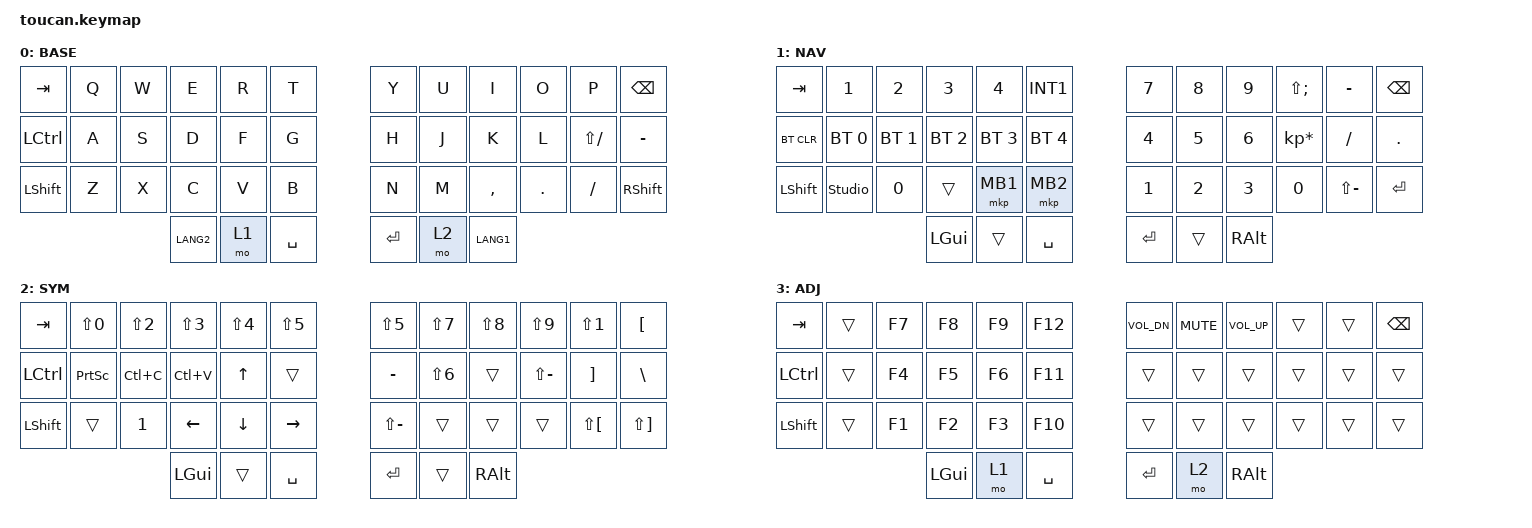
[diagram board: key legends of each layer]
#include <behaviors.dtsi>
#include <dt-bindings/zmk/keys.h>
#include <dt-bindings/zmk/bt.h>
#include <dt-bindings/zmk/mouse.h>

/ {
    conditional_layers {
        compatible = "zmk,conditional-layers";
        adj_layer {
            if-layers = <1 2>;
            then-layer = <3>;
        };
    };

    keymap {
        compatible = "zmk,keymap";

        default_layer {
            display-name = "BASE";
            bindings = <
                &kp TAB               &kp Q                 &kp W                 &kp E                 &kp R                 &kp T                 &kp Y                 &kp U                 &kp I                 &kp O                 &kp P                 &kp BSPC              
                &kp LCTRL             &kp A                 &kp S                 &kp D                 &kp F                 &kp G                 &kp H                 &kp J                 &kp K                 &kp L                 &kp LS(FSLH)          &kp MINUS             
                &kp LSHFT             &kp Z                 &kp X                 &kp C                 &kp V                 &kp B                 &kp N                 &kp M                 &kp COMMA             &kp DOT               &kp FSLH              &kp RSHFT             
                                            &kp LANG2             &mo 1                 &kp SPACE             &kp RET               &mo 2                 &kp LANG1             
            >;
        };

        nav_layer {
            display-name = "NAV";
            bindings = <
                &kp TAB               &kp N1                &kp N2                &kp N3                &kp N4                &kp INT1              &kp N7                &kp N8                &kp N9                &kp LS(SEMI)          &kp MINUS             &kp BSPC              
                &bt BT_CLR            &bt BT_SEL 0          &bt BT_SEL 1          &bt BT_SEL 2          &bt BT_SEL 3          &bt BT_SEL 4          &kp N4                &kp N5                &kp N6                &kp KP_MULTIPLY       &kp FSLH              &kp DOT               
                &kp LSHFT             &studio_unlock        &kp N0                &trans                &mkp MB1              &mkp MB2              &kp N1                &kp N2                &kp N3                &kp N0                &kp LS(MINUS)         &kp RET               
                                            &kp LGUI              &trans                &kp SPACE             &kp RET               &trans                &kp RALT              
            >;
        };

        sym_layer {
            display-name = "SYM";
            bindings = <
                &kp TAB               &kp LS(N0)            &kp LS(N2)            &kp LS(N3)            &kp LS(N4)            &kp LS(N5)            &kp LS(N5)            &kp LS(N7)            &kp LS(N8)            &kp LS(N9)            &kp LS(N1)            &kp LBKT              
                &kp LCTRL             &kp PSCRN             &kp LC(C)             &kp LC(V)             &kp UP                &trans                &kp MINUS             &kp LS(N6)            &trans                &kp LS(MINUS)         &kp RBKT              &kp BSLH              
                &kp LSHFT             &trans                &kp N1                &kp LEFT              &kp DOWN              &kp RIGHT             &kp LS(MINUS)         &trans                &trans                &trans                &kp LS(LBKT)          &kp LS(RBKT)          
                                            &kp LGUI              &trans                &kp SPACE             &kp RET               &trans                &kp RALT              
            >;
        };

        adj_layer {
            display-name = "ADJ";
            bindings = <
                &kp TAB               &trans                &kp F7                &kp F8                &kp F9                &kp F12               &kp C_VOL_DN          &kp C_MUTE            &kp C_VOL_UP          &trans                &trans                &kp BSPC              
                &kp LCTRL             &trans                &kp F4                &kp F5                &kp F6                &kp F11               &trans                &trans                &trans                &trans                &trans                &trans                
                &kp LSHFT             &trans                &kp F1                &kp F2                &kp F3                &kp F10               &trans                &trans                &trans                &trans                &trans                &trans                
                                            &kp LGUI              &mo 1                 &kp SPACE             &kp RET               &mo 2                 &kp RALT              
            >;
        };
    };
};
